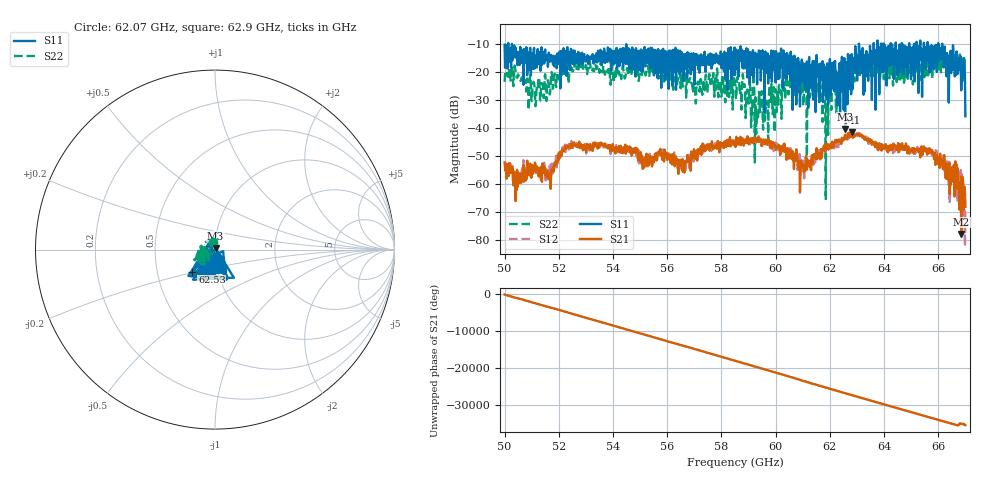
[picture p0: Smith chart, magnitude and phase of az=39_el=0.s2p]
!Created with skrf (http://scikit-rf.org).
# GHz S RI R 50.0
!freq ReS11 ImS11 ReS21 ImS21 ReS12 ImS12 ReS22 ImS22
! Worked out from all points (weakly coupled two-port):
!   1001 points, 50 GHz to 67 GHz, reference 50 ohm
!   highest |S21| = -41.39 dB at 62.82 GHz (marker M1); lowest = -77.8 dB at 66.85 GHz (marker M2)
!   lowest |S11| = -40.4 dB at 62.56 GHz (marker M3), VSWR 1.02, Z = 50.3 + j0.91 ohm
!   |S11| at or under -10 dB: 50.27 GHz to 63.07 GHz (12.8 GHz wide, 22.6 % of centre); 63.07 GHz to 63.62 GHz (542.3 MHz wide, 0.856 % of centre); 66.15 GHz to end of sweep (the widest 3 of 19)
!   |S22| runs from -65.7 to -13.8 dB; largest |S21 - S12| = 0.002
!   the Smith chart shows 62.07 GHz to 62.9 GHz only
!   S11 on the Smith chart (normalised r, x): 62.07 GHz: 1.03, -0.10; 62.53 GHz: 0.76, -0.19; 62.9 GHz: 1.07, -0.22
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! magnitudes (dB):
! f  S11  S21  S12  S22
! 50 GHz  -10.3  -52.3  -52.7  -23.6
! 50.48 GHz  -17.6  -61.0  -61.1  -21.7
! 51.62 GHz  -15.7  -56.0  -57.8  -24.1
! 52.23 GHz  -12.4  -46.5  -45.9  -20.7
! 52.84 GHz  -14.4  -46.9  -47.3  -19.2
! 55.68 GHz  -13.8  -48.8  -50.2  -22.4
! 56.6 GHz  -23.2  -52.0  -52.5  -23.6
! 58.5 GHz  -21.1  -44.5  -45.6  -24.4
! 59.32 GHz  -24.4  -43.8  -43.2  -36.5
! 60.64 GHz  -14.5  -51.6  -51.5  -21.6
! 61.34 GHz  -24.1  -49.7  -51.8  -24.5
! 61.88 GHz  -28.9  -47.5  -47.4  -22.6
! 62.07 GHz  -25.9  -47.2  -45.4  -27.6
! 62.53 GHz  -15.1  -44.1  -43.2  -19.4
! 62.56 GHz  -40.4  -42.4  -42.6  -19.1
! 62.82 GHz  -14.5  -41.4  -41.9  -21.8
! 62.9 GHz  -19.3  -42.6  -42.5  -23.4
! 64.18 GHz  -17.7  -46.4  -46.5  -18.9
! 65.72 GHz  -12.1  -48.4  -48.4  -14.9
! 66.66 GHz  -21.1  -52.9  -61.1  -16.4
! 66.85 GHz  -26.5  -77.8  -66.8  -19.1
! 67 GHz  -35.8  -68.1  -69.8  -15.8
